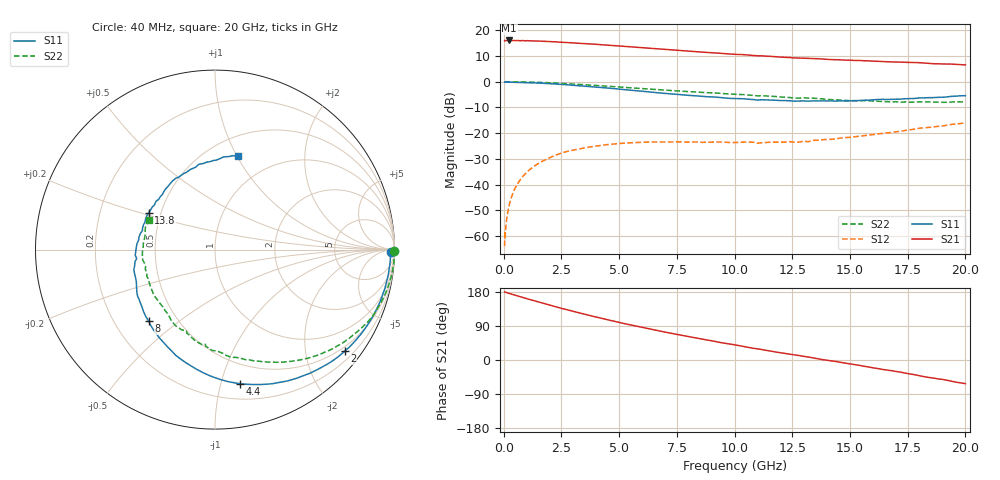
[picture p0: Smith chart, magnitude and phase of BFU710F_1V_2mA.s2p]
! Filename:  P:\Prog\Test\Noise\ATS_data\Testdata_Net\BFU710\BFU710_2W_A1_1V2mA_D.s2p
! Date/Time: Fri 29/Apr/2011 13:26:03
! BFU710_2W_A1_1V2mA
! bias mode 1: Vout= 1.0003 V, Iout= 1.9750 mA, Vin= 0.8030 V, Iin= 0.0063 mA
! Date/time Wed Mar 16 13:22:09 2011
! Device data file deembeded for feedlines and parallel
! Original file: \BFU710\BFU710_2W_A1_1V2mA_R.s2p
! Feed-files: PR003V01_101208_Feed1.s2p, PR003V01_101208_Feed2.s2p
! Parallel-file: PR003V01_101208_Par.s2p
# MHz S MA R 50
!  Freq-MHz  S11-mag  S11-arg  S21-mag  S21-arg  S12-mag  S12-arg  S22-mag  S22-arg
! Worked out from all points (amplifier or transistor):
!   167 points, 40 MHz to 20 GHz, reference 50 ohm
!   highest |S21| = 16.1 dB at 240 MHz (marker M1)
!   |S21| within 3 dB of that: start of sweep to 6.222 GHz
!   unconditionally stable (mu >= 1): 9.113 GHz to 19.25 GHz
!   at 550 MHz: K = 0.00, MSG = 28.3 dB, |S12| = -40.5 dB
!   at 4.2 GHz: K = 0.37, MSG = 19.6 dB, |S12| = -24.8 dB
!   at 20 GHz: K = 0.93, MSG = 11.3 dB, |S12| = -16.0 dB
!   S11 on the Smith chart (normalised r, x): 40 MHz: 66, -42; 2 GHz: 0.39, -2.86; 4.4 GHz: 0.33, -1.15; 8 GHz: 0.35, -0.39; 13.8 GHz: 0.43, +0.22; 20 GHz: 0.69, +1.00
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40  0.9785 -0.8  6.308 179.6  0.0006315 88.7  0.9993 -0.4
50  0.9786 -1.4  6.331 179.0  0.001233 73.3  0.9993 -0.5
60  0.9756 -1.0  6.259 178.7  0.0008524 78.0  0.9996 -0.6
120  0.9786 -2.3  6.307 177.9  0.001962 89.3  0.9998 -1.3
240  0.9774 -4.6  6.346 175.7  0.004002 89.0  0.9996 -2.7
500  0.9741 -9.6  6.287 170.9  0.008587 86.0  0.9976 -5.7
1000  0.9616 -19.2  6.282 161.9  0.01733 78.4  0.988 -11.4
2000  0.9188 -38.0  6.025 144.5  0.03328 64.8  0.9547 -22.5
2700  0.8743 -50.7  5.806 133.2  0.04346 55.3  0.9168 -29.8
3400  0.8283 -62.8  5.549 122.3  0.05057 46.9  0.8793 -36.5
4400  0.7594 -79.4  5.197 107.6  0.05913 36.6  0.8236 -45.4
5600  0.6763 -98.3  4.724 91.1  0.06517 25.5  0.7554 -55.4
6800  0.6029 -116.1  4.293 76.0  0.06732 16.7  0.6955 -64.4
8000  0.5428 -132.9  3.924 62.0  0.06674 10.8  0.6421 -72.9
9200  0.5015 -149.8  3.631 48.4  0.0673 7.8  0.6024 -82.2
10200  0.4678 -162.9  3.392 38.0  0.06599 5.7  0.5641 -89.7
11600  0.4388 178.3  3.107 23.1  0.06672 5.6  0.5226 -101.8
13400  0.4229 155.9  2.814 5.5  0.07229 8.3  0.4775 -117.2
13800  0.423 150.8  2.757 1.2  0.07442 8.1  0.4636 -121.8
16800  0.4543 114.7  2.43 -28.2  0.1028 5.5  0.4057 -155.2
18200  0.4843 97.7  2.316 -43.8  0.1266 -1.1  0.4056 -175.8
20000  0.5342 76.3  2.125 -62.4  0.1576 -11.8  0.4045 155.7
